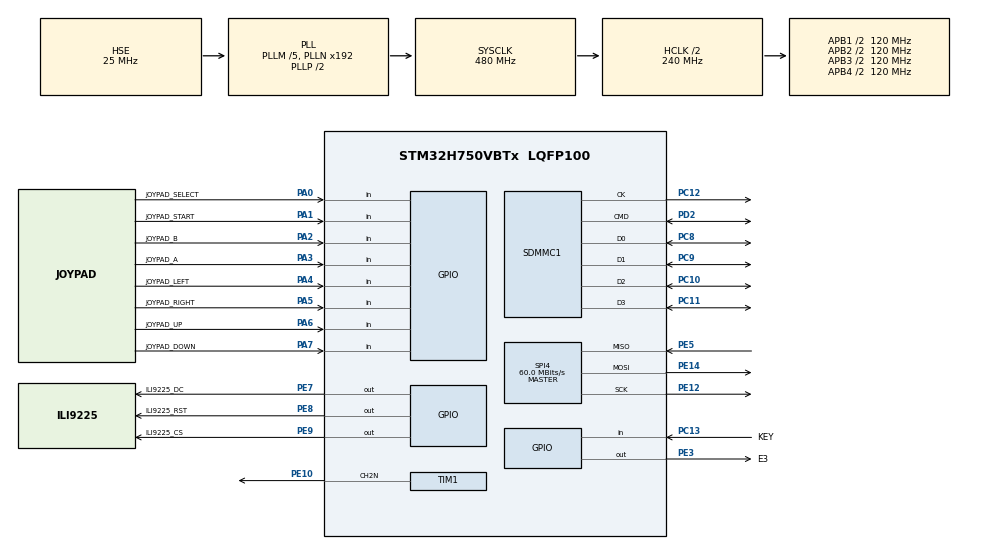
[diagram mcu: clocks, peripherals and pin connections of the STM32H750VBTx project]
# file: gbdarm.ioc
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Dma.Request0=SPI4_TX
Dma.SPI4_TX.0.Direction=DMA_MEMORY_TO_PERIPH
Dma.SPI4_TX.0.EventEnable=DISABLE
Dma.SPI4_TX.0.FIFOMode=DMA_FIFOMODE_DISABLE
Dma.SPI4_TX.0.Instance=DMA1_Stream0
Dma.SPI4_TX.0.MemDataAlignment=DMA_MDATAALIGN_HALFWORD
Dma.SPI4_TX.0.MemInc=DMA_MINC_ENABLE
Dma.SPI4_TX.0.Mode=DMA_NORMAL
Dma.SPI4_TX.0.PeriphDataAlignment=DMA_PDATAALIGN_HALFWORD
Dma.SPI4_TX.0.PeriphInc=DMA_PINC_DISABLE
Dma.SPI4_TX.0.Polarity=HAL_DMAMUX_REQ_GEN_RISING
Dma.SPI4_TX.0.Priority=DMA_PRIORITY_LOW
Dma.SPI4_TX.0.RequestNumber=1
Dma.SPI4_TX.0.SignalID=NONE
Dma.SPI4_TX.0.SyncEnable=DISABLE
Dma.SPI4_TX.0.SyncPolarity=HAL_DMAMUX_SYNC_NO_EVENT
Dma.SPI4_TX.0.SyncRequestNumber=1
Dma.SPI4_TX.0.SyncSignalID=NONE
FATFS._MAX_SS=4096
FATFS._USE_LFN=1
Mcu.Family=STM32H7
Mcu.Name=STM32H750VBTx
Mcu.Package=LQFP100
NVIC.DMA1_Stream0_IRQn=true\:0\:0\:false\:false\:true\:false\:true\:true
NVIC.PriorityGroup=NVIC_PRIORITYGROUP_4
NVIC.SPI4_IRQn=true\:0\:0\:false\:false\:true\:false\:true\:true
PA0.GPIO_Label=JOYPAD_SELECT
PA0.Signal=GPIO_Input
PA1.GPIO_Label=JOYPAD_START
PA1.Signal=GPIO_Input
PA13\ (JTMS/SWDIO).Mode=Serial_Wire
PA13\ (JTMS/SWDIO).Signal=DEBUG_JTMS-SWDIO
PA14\ (JTCK/SWCLK).Mode=Serial_Wire
PA14\ (JTCK/SWCLK).Signal=DEBUG_JTCK-SWCLK
PA2.GPIO_Label=JOYPAD_B
PA2.Signal=GPIO_Input
PA3.GPIO_Label=JOYPAD_A
PA3.Signal=GPIO_Input
PA4.GPIO_Label=JOYPAD_LEFT
PA4.Signal=GPIO_Input
PA5.GPIO_Label=JOYPAD_RIGHT
PA5.Signal=GPIO_Input
PA6.GPIO_Label=JOYPAD_UP
PA6.Signal=GPIO_Input
PA7.GPIO_Label=JOYPAD_DOWN
PA7.Signal=GPIO_Input
PC10.Mode=SD_4_bits_Wide_bus
PC10.Signal=SDMMC1_D2
PC11.Mode=SD_4_bits_Wide_bus
PC11.Signal=SDMMC1_D3
PC12.Mode=SD_4_bits_Wide_bus
PC12.Signal=SDMMC1_CK
PC13.GPIO_Label=KEY
PC13.GPIO_PuPd=GPIO_PULLDOWN
PC13.Signal=GPIO_Input
PC14-OSC32_IN\ (OSC32_IN).Mode=LSE-External-Oscillator
PC14-OSC32_IN\ (OSC32_IN).Signal=RCC_OSC32_IN
PC15-OSC32_OUT\ (OSC32_OUT).Mode=LSE-External-Oscillator
PC15-OSC32_OUT\ (OSC32_OUT).Signal=RCC_OSC32_OUT
PC8.Mode=SD_4_bits_Wide_bus
PC8.Signal=SDMMC1_D0
PC9.Mode=SD_4_bits_Wide_bus
PC9.Signal=SDMMC1_D1
PD2.Mode=SD_4_bits_Wide_bus
PD2.Signal=SDMMC1_CMD
PE10.Mode=PWM Generation2 CH2N
PE10.Signal=TIM1_CH2N
PE12.GPIO_Speed=GPIO_SPEED_FREQ_HIGH
PE12.Mode=Full_Duplex_Master
PE12.Signal=SPI4_SCK
PE14.GPIO_Speed=GPIO_SPEED_FREQ_HIGH
PE14.Mode=Full_Duplex_Master
PE14.Signal=SPI4_MOSI
PE3.GPIO_Label=E3
PE3.PinState=GPIO_PIN_RESET
PE3.Signal=GPIO_Output
PE5.Mode=Full_Duplex_Master
PE5.Signal=SPI4_MISO
PE7.GPIO_Label=ILI9225_DC
PE7.GPIO_Speed=GPIO_SPEED_FREQ_LOW
PE7.Signal=GPIO_Output
PE8.GPIO_Label=ILI9225_RST
PE8.GPIO_Speed=GPIO_SPEED_FREQ_LOW
PE8.Signal=GPIO_Output
PE9.GPIO_Label=ILI9225_CS
PE9.GPIO_Speed=GPIO_SPEED_FREQ_LOW
PE9.Signal=GPIO_Output
PH0-OSC_IN\ (PH0).Mode=HSE-External-Oscillator
PH0-OSC_IN\ (PH0).Signal=RCC_OSC_IN
PH1-OSC_OUT\ (PH1).Mode=HSE-External-Oscillator
PH1-OSC_OUT\ (PH1).Signal=RCC_OSC_OUT
ProjectManager.HeapSize=0x200
ProjectManager.StackSize=0x400
ProjectManager.TargetToolchain=Makefile
RCC.ADCFreq_Value=83333333.33333333
RCC.APB1Freq_Value=120000000
RCC.APB2Freq_Value=120000000
RCC.APB3Freq_Value=120000000
RCC.APB4Freq_Value=120000000
RCC.CortexFreq_Value=480000000
RCC.D1PPRE=RCC_APB3_DIV2
RCC.D2PPRE1=RCC_APB1_DIV2
RCC.D2PPRE2=RCC_APB2_DIV2
RCC.D3PPRE=RCC_APB4_DIV2
RCC.DIVM1=5
RCC.DIVM2=6
RCC.DIVN1=192
RCC.DIVN2=40
RCC.DIVQ1=4
RCC.DIVQ2=1
RCC.HCLKFreq_Value=240000000
RCC.HPRE=RCC_HCLK_DIV2
RCC.HSE_VALUE=25000000
RCC.PLLFRACN=0
RCC.PLLSourceVirtual=RCC_PLLSOURCE_HSE
RCC.PWR_Regulator_Voltage_Scale=PWR_REGULATOR_VOLTAGE_SCALE0
RCC.RTCClockSelection=RCC_RTCCLKSOURCE_LSE
RCC.SYSCLKFreq_VALUE=480000000
RCC.SYSCLKSource=RCC_SYSCLKSOURCE_PLLCLK
RCC.USBFreq_Value=240000000
SDMMC1.ClockDiv=8
SPI4.BaudRatePrescaler=SPI_BAUDRATEPRESCALER_2
SPI4.CalculateBaudRate=60.0 MBits/s
SPI4.DataSize=SPI_DATASIZE_16BIT
SPI4.Direction=SPI_DIRECTION_2LINES
SPI4.Mode=SPI_MODE_MASTER
SPI4.VirtualType=VM_MASTER
TIM1.Channel-PWM\ Generation2\ CH2N=TIM_CHANNEL_2
TIM1.OCNPolarity_2=TIM_OCNPOLARITY_LOW
TIM1.Period=1000-1
TIM1.Prescaler=12-1
VP_FATFS_VS_SDIO.Mode=SDIO
board=custom

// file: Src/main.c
/* USER CODE BEGIN Header */
/**
  ******************************************************************************
  * @file           : main.c
  * @brief          : Main program body
  ******************************************************************************
  * @attention
  *
  * <h2><center>&copy; Copyright (c) 2020 STMicroelectronics.
  * All rights reserved.</center></h2>
  *
  * This software component is licensed by ST under BSD 3-Clause license,
  * the "License"; You may not use this file except in compliance with the
  * License. You may obtain a copy of the License at:
  *                        opensource.org/licenses/BSD-3-Clause
  *
  ******************************************************************************
  */
/* USER CODE END Header */
#include "main.h"
#include "dma.h"
#include "fatfs.h"
#include "sdmmc.h"
#include "spi.h"
#include "tim.h"
#include "gpio.h"

/* USER CODE BEGIN Includes */
#include <stdbool.h>
// #include "Kirby_Dream_Land.gb.h"
// #include "Super_Mario_Land.gb.h"
#include "gbdarm.h"
#include "ili9225.h"
/* USER CODE END Includes */

/* USER CODE BEGIN PM */
#define FRAME_BUFFER      __attribute__((section(".frame_buffer"), used))
/* USER CODE END PM */

/* USER CODE BEGIN PV */
FRAME_BUFFER uint16_t frontFrameBuffer[SCREEN_HEIGHT * SCREEN_WIDTH];
FRAME_BUFFER uint16_t backFrameBuffer[SCREEN_HEIGHT * SCREEN_WIDTH];
uint16_t backgroundBuffer[LCD_HEIGHT * LCD_WIDTH];
// FRAME_BUFFER uint16_t frontFrameBuffer[LCD_HEIGHT * LCD_WIDTH];
// FRAME_BUFFER uint16_t backFrameBuffer[LCD_HEIGHT * LCD_WIDTH];
struct gb gb;
uint8_t rom[256 * KiB];
/* USER CODE END PV */

void SystemClock_Config(void);

/* USER CODE BEGIN 0 */

void system_init(void)
{
  for (int i = 0; i < SCREEN_WIDTH * SCREEN_HEIGHT; i++)
  // for (int i = 0; i < LCD_WIDTH * LCD_HEIGHT; i++)
    frontFrameBuffer[i] = backFrameBuffer[i] = ILI9225_WHITE;
  for (int i = 0; i < LCD_WIDTH * LCD_HEIGHT; i++) {
    backgroundBuffer[i] = ILI9225_BLACK;
  }
}

void rom_load(void)
{
  FATFS fatFS;
  FIL fp;
  FRESULT fResult;
  FATFS *fsPtr;
  UINT RWC, WWC;

  fResult = f_mount(&fatFS, SDPath, 1);
  fResult = f_open(&fp, "Dr_Mario.gb", FA_READ);
  f_read(&fp, rom, f_size(&fp), &RWC);
  f_close(&fp);
  fResult = f_mount(NULL, "", 0);
}

void joypad_check(void)
{
  bool left, right, up, down, select, start, a, b;

  left = gb.joypad.button[JOYPAD_LEFT];
  right = gb.joypad.button[JOYPAD_RIGHT];
  up = gb.joypad.button[JOYPAD_UP];
  down = gb.joypad.button[JOYPAD_DOWN];
  select = gb.joypad.button[JOYPAD_SELECT];
  start = gb.joypad.button[JOYPAD_START];
  a = gb.joypad.button[JOYPAD_A];
  b = gb.joypad.button[JOYPAD_B];
  gb.joypad.button[JOYPAD_LEFT] = HAL_GPIO_ReadPin(JOYPAD_LEFT_GPIO_Port, JOYPAD_LEFT_Pin);
  gb.joypad.button[JOYPAD_RIGHT] = HAL_GPIO_ReadPin(JOYPAD_RIGHT_GPIO_Port, JOYPAD_RIGHT_Pin);
  gb.joypad.button[JOYPAD_UP] = HAL_GPIO_ReadPin(JOYPAD_UP_GPIO_Port, JOYPAD_UP_Pin);
  gb.joypad.button[JOYPAD_DOWN] = HAL_GPIO_ReadPin(JOYPAD_DOWN_GPIO_Port, JOYPAD_UP_Pin);
  gb.joypad.button[JOYPAD_SELECT] = HAL_GPIO_ReadPin(JOYPAD_SELECT_GPIO_Port, JOYPAD_SELECT_Pin);
  gb.joypad.button[JOYPAD_START] = HAL_GPIO_ReadPin(JOYPAD_START_GPIO_Port, JOYPAD_START_Pin);
  gb.joypad.button[JOYPAD_A] = HAL_GPIO_ReadPin(JOYPAD_A_GPIO_Port, JOYPAD_A_Pin);
  gb.joypad.button[JOYPAD_B] = HAL_GPIO_ReadPin(JOYPAD_B_GPIO_Port, JOYPAD_B_Pin);

  // request interrupt if any button is pressed down
  if (IS_FALLING_EDGE(left, gb.joypad.button[JOYPAD_LEFT]) || IS_FALLING_EDGE(right, gb.joypad.button[JOYPAD_RIGHT]) ||
      IS_FALLING_EDGE(up, gb.joypad.button[JOYPAD_UP]) || IS_FALLING_EDGE(down, gb.joypad.button[JOYPAD_DOWN]) ||
      IS_FALLING_EDGE(select, gb.joypad.button[JOYPAD_SELECT]) || IS_FALLING_EDGE(start, gb.joypad.button[JOYPAD_START]) ||
      IS_FALLING_EDGE(a, gb.joypad.button[JOYPAD_A]) || IS_FALLING_EDGE(b, gb.joypad.button[JOYPAD_B])) {
    gb.interrupt.flag |= INTERRUPT_SRC_JOYPAD;
  }
}

static void MPU_Config(void)
{
  MPU_Region_InitTypeDef MPU_InitStruct = {0};

  /* Disables the MPU */
  HAL_MPU_Disable();

	/* Configure the MPU attributes for the QSPI 256MB without instruction access */
  MPU_InitStruct.Enable           = MPU_REGION_ENABLE;
  MPU_InitStruct.Number           = MPU_REGION_NUMBER0;
  MPU_InitStruct.BaseAddress      = QSPI_BASE;
  MPU_InitStruct.Size             = MPU_REGION_SIZE_256MB;
  MPU_InitStruct.AccessPermission = MPU_REGION_NO_ACCESS;
  MPU_InitStruct.IsBufferable     = MPU_ACCESS_NOT_BUFFERABLE;
  MPU_InitStruct.IsCacheable      = MPU_ACCESS_NOT_CACHEABLE;
  MPU_InitStruct.IsShareable      = MPU_ACCESS_NOT_SHAREABLE;
  MPU_InitStruct.DisableExec      = MPU_INSTRUCTION_ACCESS_DISABLE;
  MPU_InitStruct.TypeExtField     = MPU_TEX_LEVEL1;
  MPU_InitStruct.SubRegionDisable = 0x00;
  HAL_MPU_ConfigRegion(&MPU_InitStruct);

  /* Configure the MPU attributes for the QSPI 8MB (QSPI Flash Size) to Cacheable WT */
  MPU_InitStruct.Enable           = MPU_REGION_ENABLE;
  MPU_InitStruct.Number           = MPU_REGION_NUMBER1;
  MPU_InitStruct.BaseAddress      = QSPI_BASE;
  MPU_InitStruct.Size             = MPU_REGION_SIZE_8MB;
  MPU_InitStruct.AccessPermission = MPU_REGION_PRIV_RO;
  MPU_InitStruct.IsBufferable     = MPU_ACCESS_BUFFERABLE;
  MPU_InitStruct.IsCacheable      = MPU_ACCESS_CACHEABLE;
  MPU_InitStruct.IsShareable      = MPU_ACCESS_NOT_SHAREABLE;
  MPU_InitStruct.DisableExec      = MPU_INSTRUCTION_ACCESS_ENABLE;
  MPU_InitStruct.TypeExtField     = MPU_TEX_LEVEL1;
  MPU_InitStruct.SubRegionDisable = 0x00;
  HAL_MPU_ConfigRegion(&MPU_InitStruct);

  /* configure the D2 RAM region, make it non-cacheable*/
  MPU_InitStruct.Enable = MPU_REGION_ENABLE;
  MPU_InitStruct.Number = MPU_REGION_NUMBER0;
  MPU_InitStruct.BaseAddress = 0x30000000;
  MPU_InitStruct.Size = MPU_REGION_SIZE_128KB;
  MPU_InitStruct.AccessPermission = MPU_REGION_FULL_ACCESS;
  MPU_InitStruct.IsBufferable = MPU_ACCESS_BUFFERABLE;
  MPU_InitStruct.IsCacheable = MPU_ACCESS_NOT_CACHEABLE;
  MPU_InitStruct.IsShareable = MPU_ACCESS_NOT_SHAREABLE;
  MPU_InitStruct.DisableExec = MPU_INSTRUCTION_ACCESS_DISABLE;
  MPU_InitStruct.TypeExtField = MPU_TEX_LEVEL0;
  MPU_InitStruct.SubRegionDisable = 0x00;
  HAL_MPU_ConfigRegion(&MPU_InitStruct);

  /* Enables the MPU */
  HAL_MPU_Enable(MPU_PRIVILEGED_DEFAULT);
}

static void CPU_CACHE_Enable(void)
{
  /* Enable I-Cache */
  SCB_EnableICache();

  /* Enable D-Cache */
  SCB_EnableDCache();
}

void HAL_SPI_TxCpltCallback(SPI_HandleTypeDef *hspi)
{
  ili9225_set_cs(STATE_DISABLE);
  gb.whichBuffer = (gb.whichBuffer == FRONT) ? BACK : FRONT;
  gb.frontBufferPtr = (gb.whichBuffer == FRONT) ? frontFrameBuffer : backFrameBuffer;
}

/* USER CODE END 0 */

int main(void)
{
  /* USER CODE BEGIN 1 */

  #ifdef W25Qxx
    SCB->VTOR = QSPI_BASE;
  #endif
  MPU_Config();
  CPU_CACHE_Enable();

  /* USER CODE END 1 */

  /* MCU Configuration--------------------------------------------------------*/

  /* Reset of all peripherals, Initializes the Flash interface and the Systick. */
  HAL_Init();

  /* Configure the system clock */
  SystemClock_Config();

  /* Initialize all configured peripherals */
  MX_GPIO_Init();
  MX_DMA_Init();
  MX_SPI4_Init();
  MX_TIM1_Init();
  MX_SDMMC1_SD_Init();
  MX_FATFS_Init();
  /* USER CODE BEGIN 2 */
  gb.frontBufferPtr = frontFrameBuffer;
  gb.backBufferPtr = backFrameBuffer;
  gb.whichBuffer = FRONT;
  system_init();
  rom_load();
  ili9225_init();
  cartridge_load(&gb, rom);
  load_state_after_booting(&gb);
  // ili9225_set_gram_ptr(153, 0);
  ili9225_set_gram_ptr(0, 0);
  ili9225_draw_bitmap(backgroundBuffer, LCD_HEIGHT, LCD_WIDTH, PLAINSPI);
  ili9225_set_window_area(0, 159, 9, 153);
  /* USER CODE END 2 */

  /* Infinite loop */
  while (1)
  {

    /* USER CODE BEGIN 3 */
    // ili9225_draw_bitmap(gb.frontBufferPtr, LCD_HEIGHT, LCD_WIDTH, DMA);
    ili9225_draw_bitmap(gb.frontBufferPtr, SCREEN_WIDTH, SCREEN_HEIGHT, DMA);
    while (!gb.ppu.frameReady)
      cpu_step(&gb);
    joypad_check();
    if (gb.whichBuffer == BACK) {
      gb.backBufferPtr = frontFrameBuffer;
    } else if (gb.whichBuffer == FRONT) {
      gb.backBufferPtr = backFrameBuffer;
    }
    // ili9225_set_gram_ptr(0, 0);
    ili9225_set_gram_ptr(153, 0);
    gb.ppu.frameReady = false;
  }
  /* USER CODE END 3 */
}

void SystemClock_Config(void)
{
  RCC_OscInitTypeDef RCC_OscInitStruct = {0};
  RCC_ClkInitTypeDef RCC_ClkInitStruct = {0};

  /** Supply configuration update enable
  */
  HAL_PWREx_ConfigSupply(PWR_LDO_SUPPLY);

  /** Configure the main internal regulator output voltage
  */
  __HAL_PWR_VOLTAGESCALING_CONFIG(PWR_REGULATOR_VOLTAGE_SCALE1);

  while(!__HAL_PWR_GET_FLAG(PWR_FLAG_VOSRDY)) {}

  __HAL_RCC_SYSCFG_CLK_ENABLE();
  __HAL_PWR_VOLTAGESCALING_CONFIG(PWR_REGULATOR_VOLTAGE_SCALE0);

  while(!__HAL_PWR_GET_FLAG(PWR_FLAG_VOSRDY)) {}

  /** Initializes the RCC Oscillators according to the specified parameters
  * in the RCC_OscInitTypeDef structure.
  */
  RCC_OscInitStruct.OscillatorType = RCC_OSCILLATORTYPE_HSE;
  RCC_OscInitStruct.HSEState = RCC_HSE_ON;
  RCC_OscInitStruct.PLL.PLLState = RCC_PLL_ON;
  RCC_OscInitStruct.PLL.PLLSource = RCC_PLLSOURCE_HSE;
  RCC_OscInitStruct.PLL.PLLM = 5;
  RCC_OscInitStruct.PLL.PLLN = 192;
  RCC_OscInitStruct.PLL.PLLP = 2;
  RCC_OscInitStruct.PLL.PLLQ = 4;
  RCC_OscInitStruct.PLL.PLLR = 2;
  RCC_OscInitStruct.PLL.PLLRGE = RCC_PLL1VCIRANGE_2;
  RCC_OscInitStruct.PLL.PLLVCOSEL = RCC_PLL1VCOWIDE;
  RCC_OscInitStruct.PLL.PLLFRACN = 0;
  if (HAL_RCC_OscConfig(&RCC_OscInitStruct) != HAL_OK)
  {
    Error_Handler();
  }

  /** Initializes the CPU, AHB and APB buses clocks
  */
  RCC_ClkInitStruct.ClockType = RCC_CLOCKTYPE_HCLK|RCC_CLOCKTYPE_SYSCLK
                              |RCC_CLOCKTYPE_PCLK1|RCC_CLOCKTYPE_PCLK2
                              |RCC_CLOCKTYPE_D3PCLK1|RCC_CLOCKTYPE_D1PCLK1;
  RCC_ClkInitStruct.SYSCLKSource = RCC_SYSCLKSOURCE_PLLCLK;
  RCC_ClkInitStruct.SYSCLKDivider = RCC_SYSCLK_DIV1;
  RCC_ClkInitStruct.AHBCLKDivider = RCC_HCLK_DIV2;
  RCC_ClkInitStruct.APB3CLKDivider = RCC_APB3_DIV2;
  RCC_ClkInitStruct.APB1CLKDivider = RCC_APB1_DIV2;
  RCC_ClkInitStruct.APB2CLKDivider = RCC_APB2_DIV2;
  RCC_ClkInitStruct.APB4CLKDivider = RCC_APB4_DIV2;

  if (HAL_RCC_ClockConfig(&RCC_ClkInitStruct, FLASH_LATENCY_4) != HAL_OK)
  {
    Error_Handler();
  }
}

void Error_Handler(void)
{
}
